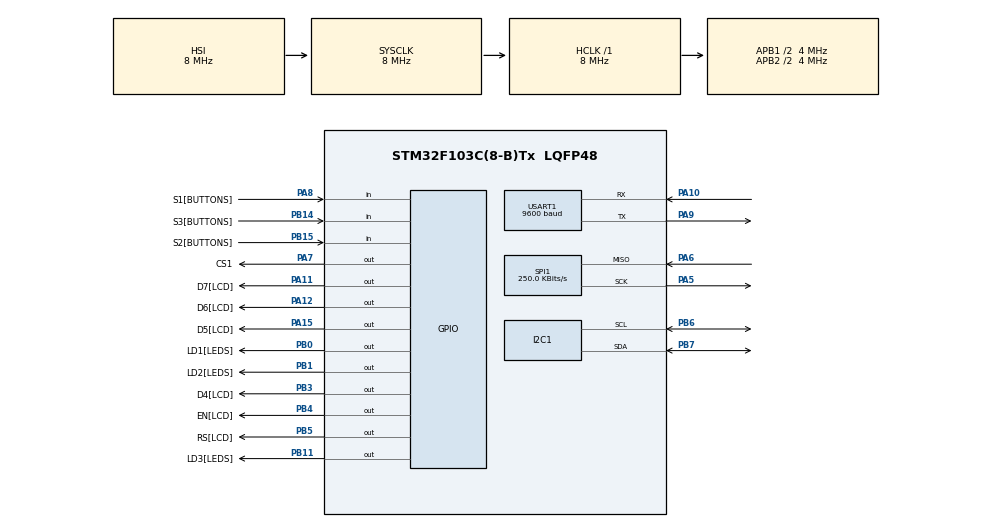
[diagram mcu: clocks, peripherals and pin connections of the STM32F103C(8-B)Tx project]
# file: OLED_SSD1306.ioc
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I2C1.I2C_Mode=I2C_Fast
Mcu.Family=STM32F1
Mcu.Name=STM32F103C(8-B)Tx
Mcu.Package=LQFP48
NVIC.PriorityGroup=NVIC_PRIORITYGROUP_4
PA10.Mode=Asynchronous
PA10.Signal=USART1_RX
PA11.GPIO_Label=D7[LCD]
PA11.Signal=GPIO_Output
PA12.GPIO_Label=D6[LCD]
PA12.Signal=GPIO_Output
PA13.Mode=Serial_Wire
PA13.Signal=SYS_JTMS-SWDIO
PA14.Mode=Serial_Wire
PA14.Signal=SYS_JTCK-SWCLK
PA15.GPIO_Label=D5[LCD]
PA15.Signal=GPIO_Output
PA5.Mode=RX_Only_Simplex_Unidirect_Master
PA5.Signal=SPI1_SCK
PA6.Mode=RX_Only_Simplex_Unidirect_Master
PA6.Signal=SPI1_MISO
PA7.GPIO_Label=CS1
PA7.Signal=GPIO_Output
PA8.GPIO_Label=S1[BUTTONS]
PA8.Signal=GPIO_Input
PA9.Mode=Asynchronous
PA9.Signal=USART1_TX
PB0.GPIO_Label=LD1[LEDS]
PB0.Signal=GPIO_Output
PB1.GPIO_Label=LD2[LEDS]
PB1.Signal=GPIO_Output
PB11.GPIO_Label=LD3[LEDS]
PB11.Signal=GPIO_Output
PB14.GPIO_Label=S3[BUTTONS]
PB14.Signal=GPIO_Input
PB15.GPIO_Label=S2[BUTTONS]
PB15.Signal=GPIO_Input
PB3.GPIO_Label=D4[LCD]
PB3.Signal=GPIO_Output
PB4.GPIO_Label=EN[LCD]
PB4.Signal=GPIO_Output
PB5.GPIO_Label=RS[LCD]
PB5.Signal=GPIO_Output
PB6.Mode=I2C
PB6.Signal=I2C1_SCL
PB7.Mode=I2C
PB7.Signal=I2C1_SDA
ProjectManager.HeapSize=0x200
ProjectManager.StackSize=0x400
ProjectManager.TargetToolchain=TrueSTUDIO
RCC.AHBFreq_Value=8000000
RCC.APB1CLKDivider=RCC_HCLK_DIV2
RCC.APB1Freq_Value=4000000
RCC.APB1TimFreq_Value=8000000
RCC.APB2CLKDivider=RCC_HCLK_DIV2
RCC.APB2Freq_Value=4000000
RCC.APB2TimFreq_Value=8000000
RCC.HCLKFreq_Value=8000000
RCC.PLLMUL=RCC_PLL_MUL9
RCC.SYSCLKFreq_VALUE=8000000
RCC.USBFreq_Value=36000000
SPI1.BaudRatePrescaler=SPI_BAUDRATEPRESCALER_16
SPI1.CLKPhase=SPI_PHASE_1EDGE
SPI1.CLKPolarity=SPI_POLARITY_LOW
SPI1.CalculateBaudRate=250.0 KBits/s
SPI1.DataSize=SPI_DATASIZE_8BIT
SPI1.Direction=SPI_DIRECTION_2LINES_RXONLY
SPI1.FirstBit=SPI_FIRSTBIT_MSB
SPI1.Mode=SPI_MODE_MASTER
SPI1.VirtualType=VM_MASTER
USART1.BaudRate=9600
USART1.VirtualMode=VM_ASYNC
board=OLED_SSD1306

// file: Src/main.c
/**
  ******************************************************************************
  * @file           : main.c
  * @brief          : Main program body
  ******************************************************************************
  ** This notice applies to any and all portions of this file
  * that are not between comment pairs USER CODE BEGIN and
  * USER CODE END. Other portions of this file, whether
  * inserted by the user or by software development tools
  * are owned by their respective copyright owners.
  *
  * COPYRIGHT(c) 2018 STMicroelectronics
  *
  * Redistribution and use in source and binary forms, with or without modification,
  * are permitted provided that the following conditions are met:
  *   1. Redistributions of source code must retain the above copyright notice,
  *      this list of conditions and the following disclaimer.
  *   2. Redistributions in binary form must reproduce the above copyright notice,
  *      this list of conditions and the following disclaimer in the documentation
  *      and/or other materials provided with the distribution.
  *   3. Neither the name of STMicroelectronics nor the names of its contributors
  *      may be used to endorse or promote products derived from this software
  *      without specific prior written permission.
  *
  * THIS SOFTWARE IS PROVIDED BY THE COPYRIGHT HOLDERS AND CONTRIBUTORS "AS IS"
  * AND ANY EXPRESS OR IMPLIED WARRANTIES, INCLUDING, BUT NOT LIMITED TO, THE
  * IMPLIED WARRANTIES OF MERCHANTABILITY AND FITNESS FOR A PARTICULAR PURPOSE ARE
  * DISCLAIMED. IN NO EVENT SHALL THE COPYRIGHT HOLDER OR CONTRIBUTORS BE LIABLE
  * FOR ANY DIRECT, INDIRECT, INCIDENTAL, SPECIAL, EXEMPLARY, OR CONSEQUENTIAL
  * DAMAGES (INCLUDING, BUT NOT LIMITED TO, PROCUREMENT OF SUBSTITUTE GOODS OR
  * SERVICES; LOSS OF USE, DATA, OR PROFITS; OR BUSINESS INTERRUPTION) HOWEVER
  * CAUSED AND ON ANY THEORY OF LIABILITY, WHETHER IN CONTRACT, STRICT LIABILITY,
  * OR TORT (INCLUDING NEGLIGENCE OR OTHERWISE) ARISING IN ANY WAY OUT OF THE USE
  * OF THIS SOFTWARE, EVEN IF ADVISED OF THE POSSIBILITY OF SUCH DAMAGE.
  *
  ******************************************************************************
  */
#include "main.h"
#include "stm32f1xx_hal.h"

/* USER CODE BEGIN Includes */

#include <stdio.h>
#include <stdlib.h>
#include "ssd1306.h"
#include "i2c-lcd.h"
#include "u8g_arm.h"

/* USER CODE END Includes */

I2C_HandleTypeDef hi2c1;

SPI_HandleTypeDef hspi1;

UART_HandleTypeDef huart1;

/* USER CODE BEGIN PV */
/* Private variables ---------------------------------------------------------*/
static u8g_t u8g;
uint8_t check;
float temperature =25.00;
char buffer [5],buff[10];

const unsigned char star [] = {
0xFF, 0xFF, 0xFF, 0xFF, 0xFF, 0xFF, 0xFF, 0xFF, 0xFF, 0xFF, 0xFF, 0xFF, 0xFF, 0xFF, 0xFF, 0xFF,
0xFF, 0xFF, 0xFF, 0xFF, 0xFF, 0xFF, 0xFF, 0xFF, 0xFF, 0xFF, 0xFF, 0xFF, 0xFF, 0xFF, 0xFF, 0xFF,
0xFF, 0xFF, 0xFF, 0xFF, 0xFF, 0xFF, 0xFF, 0xFF, 0xFF, 0xFF, 0xFF, 0xFF, 0xFF, 0xFF, 0xFF, 0xFF,
0xFF, 0xFF, 0xFF, 0xFF, 0xFF, 0xFF, 0xFF, 0xFF, 0xFF, 0xFF, 0xFF, 0xFF, 0xFF, 0xFF, 0xFF, 0xFF,
0xFF, 0xFF, 0xFF, 0xFF, 0xFF, 0xFF, 0xFF, 0xFF, 0xFF, 0xFF, 0xFF, 0xFF, 0xFF, 0xFF, 0xFF, 0xFF,
0xFF, 0xFF, 0xFF, 0xFF, 0xFF, 0xFF, 0xFF, 0xFF, 0xFF, 0xFF, 0xFF, 0xFF, 0xFF, 0xFF, 0xFF, 0xFF,
0xFF, 0xFF, 0xFF, 0xFF, 0xFF, 0xFF, 0xFF, 0xFF, 0xFF, 0xFF, 0xFF, 0xFF, 0xFF, 0xFF, 0xFF, 0xFF,
0xFF, 0xFF, 0xFF, 0xFF, 0xFF, 0xFF, 0xFF, 0xFF, 0xFF, 0xFF, 0xFF, 0xFF, 0xFF, 0xFF, 0xFF, 0xFF,
0xFF, 0xFF, 0xFF, 0xFF, 0xFF, 0xFF, 0xFF, 0xFF, 0xFF, 0xFF, 0xFF, 0xFF, 0xFF, 0xFF, 0xFF, 0xFF,
0xFF, 0xFF, 0xFF, 0xFF, 0xFF, 0xFF, 0xFF, 0xFF, 0xFF, 0xFF, 0xFF, 0xFF, 0xFF, 0xFF, 0xFF, 0xFF,
0xFF, 0xFF, 0xFF, 0xFF, 0xFF, 0xFF, 0xFF, 0xFF, 0xFF, 0xFF, 0xFF, 0xFF, 0xFF, 0xFF, 0xFF, 0xFF,
0xFF, 0xFF, 0xFF, 0xC0, 0x00, 0x00, 0x00, 0x07, 0xFF, 0xFF, 0xFF, 0xFF, 0xFF, 0xFF, 0xFF, 0xFF,
0xFF, 0xFF, 0xFE, 0x3F, 0xFF, 0xFF, 0xFF, 0xF3, 0xC0, 0x09, 0xFF, 0x90, 0x00, 0x03, 0xFF, 0xFF,
0xFF, 0xFF, 0xFD, 0xFF, 0xFF, 0xFF, 0xFF, 0xF3, 0x9F, 0xFD, 0xFF, 0xBF, 0xFF, 0xF9, 0xFF, 0xFF,
0xFF, 0xFF, 0xFB, 0xFF, 0xFF, 0xFF, 0xFF, 0xF3, 0xBF, 0xFC, 0xFF, 0xBF, 0xFF, 0xFE, 0xFF, 0xFF,
0xFF, 0xFF, 0xF3, 0xFF, 0xFF, 0xFF, 0xFF, 0xF3, 0xBF, 0xFE, 0xFF, 0xBF, 0xFF, 0xFF, 0x7F, 0xFF,
0xFF, 0xFF, 0xF7, 0xFF, 0xFF, 0xFF, 0xFF, 0xF3, 0x7F, 0x7E, 0xFF, 0xBF, 0x80, 0xFF, 0x7F, 0xFF,
0xFF, 0xFF, 0xF7, 0xFC, 0x00, 0x1F, 0xC0, 0x03, 0x7F, 0x7F, 0x7F, 0xBF, 0x9F, 0x3F, 0x7F, 0xFF,
0xFF, 0xFF, 0xF7, 0xFD, 0xFF, 0xDF, 0xDF, 0xFE, 0x7E, 0x3F, 0x7F, 0xBF, 0xBF, 0xBF, 0x7F, 0xFF,
0xFF, 0xFF, 0xFB, 0xFC, 0xFF, 0xDF, 0xDF, 0xFE, 0xFE, 0xBF, 0x3F, 0xBF, 0x90, 0x3F, 0x7F, 0xFF,
0xFF, 0xFF, 0xF9, 0xFE, 0x7F, 0xDF, 0xDF, 0xFE, 0xFC, 0x9F, 0xBF, 0xBF, 0xFF, 0xFF, 0x7F, 0xFF,
0xFF, 0xFF, 0xFC, 0xFF, 0x3F, 0xDF, 0xDF, 0xFD, 0xFD, 0xDF, 0xBF, 0xBF, 0xFF, 0xFE, 0xFF, 0xFF,
0xFF, 0xFF, 0xFE, 0x7F, 0x9F, 0xDF, 0xDF, 0xFD, 0xF9, 0xDF, 0xDF, 0xBF, 0xFF, 0xF9, 0xFF, 0xFF,
0xFF, 0xFF, 0xFF, 0xBF, 0xDF, 0xDF, 0xDF, 0xF9, 0xF8, 0x0F, 0xDF, 0xBF, 0xFF, 0xF3, 0xFF, 0xFF,
0xFC, 0x00, 0x00, 0x3F, 0xEF, 0xDF, 0xDF, 0xFB, 0xFF, 0xFF, 0xCF, 0xBF, 0xBF, 0xF8, 0x00, 0x3F,
0xFD, 0xFF, 0xFF, 0xFF, 0xEF, 0xDF, 0xDF, 0xF3, 0xFF, 0xFF, 0xEF, 0xBF, 0x8F, 0xFF, 0xFF, 0xBF,
0xFD, 0xFF, 0xFF, 0xFF, 0xEF, 0xDF, 0xDF, 0xF7, 0xFF, 0xFF, 0xE7, 0xBF, 0x87, 0xFF, 0xFF, 0xBF,
0xFD, 0xFF, 0xFF, 0xFF, 0xDF, 0xDF, 0xDF, 0xF7, 0xFF, 0xFF, 0xF7, 0xBF, 0x93, 0xFF, 0xFF, 0xBF,
0xFD, 0xFF, 0xFF, 0xFF, 0xDF, 0xDF, 0xDF, 0xEF, 0xE0, 0x03, 0xF7, 0xBF, 0x9C, 0xFF, 0xFF, 0xBF,
0xFD, 0xFF, 0xFF, 0xFF, 0x3F, 0xDF, 0xDF, 0xEF, 0xCF, 0xFB, 0xFB, 0xBF, 0xDE, 0x7F, 0xFF, 0xBF,
0xFC, 0x00, 0x00, 0x00, 0x7F, 0xC0, 0x1F, 0xC0, 0x1F, 0xF9, 0xFB, 0x80, 0x1F, 0x80, 0x00, 0x3F,
0xFF, 0xFF, 0xFF, 0xFF, 0xFF, 0xFF, 0xFF, 0xFF, 0xFF, 0xFF, 0xFF, 0xFF, 0xFF, 0xFF, 0xFF, 0xFF,
0xFF, 0xFF, 0xFF, 0xFF, 0xFF, 0xFF, 0xFF, 0xFF, 0xFF, 0xFF, 0xFF, 0xFF, 0xFF, 0xFF, 0xFF, 0xFF,
0xFC, 0x01, 0xE0, 0x07, 0x80, 0x3C, 0x83, 0x9F, 0xFC, 0x00, 0x00, 0x7F, 0xFE, 0x00, 0x00, 0x3F,
0xFE, 0xFC, 0xEF, 0xF7, 0x3F, 0x7D, 0xFF, 0xDF, 0xFD, 0xFF, 0xFF, 0x9F, 0xFD, 0xFF, 0xFF, 0xBF,
0xFE, 0xFE, 0xEF, 0xF3, 0x7F, 0x79, 0xFF, 0xEF, 0xFD, 0xFF, 0xFF, 0xEF, 0xFB, 0xFF, 0xFF, 0xBF,
0xFF, 0x7E, 0x5F, 0xFB, 0x7E, 0xFB, 0xFF, 0xEF, 0xFD, 0xFF, 0xFF, 0xF7, 0xF7, 0xFF, 0xFF, 0xBF,
0xFF, 0x7F, 0x5F, 0xFA, 0xFE, 0xFB, 0xF7, 0xE7, 0xFD, 0xFF, 0xFF, 0xF3, 0xF7, 0xFF, 0xFF, 0xBF,
0xFF, 0xBF, 0x3F, 0xFC, 0xFC, 0xF7, 0xF3, 0xF7, 0xFD, 0xFC, 0x03, 0xFB, 0xF7, 0xFC, 0x00, 0x3F,
0xFF, 0xBF, 0xBF, 0xFD, 0xFD, 0xF7, 0xF3, 0xF3, 0xFD, 0xFD, 0xF9, 0xFB, 0xF7, 0xF9, 0xFF, 0xFF,
0xFF, 0x9F, 0xBF, 0xFD, 0xF9, 0xE7, 0xEB, 0xFB, 0xFD, 0xFD, 0xFB, 0xFB, 0xF3, 0xFD, 0xFF, 0xFF,
0xFF, 0xDF, 0xFF, 0xFF, 0xFB, 0xEF, 0xED, 0xFB, 0xFD, 0xFC, 0x07, 0xF3, 0xF9, 0xFE, 0xFF, 0xFF,
0xFF, 0xDF, 0xFE, 0x7F, 0xFB, 0xEF, 0xDD, 0xFD, 0xFD, 0xFF, 0xFF, 0xE7, 0xFC, 0xFF, 0x7F, 0xFF,
0xFF, 0xEF, 0xFE, 0x7F, 0xF7, 0xDF, 0xDC, 0xFD, 0xFD, 0xFF, 0xFF, 0xCF, 0xFE, 0x7F, 0xBF, 0xFF,
0xFF, 0xEF, 0xFE, 0x7F, 0xF7, 0xDF, 0x80, 0xFC, 0xFD, 0xFF, 0xFF, 0x3F, 0xFF, 0x3F, 0xDF, 0xFF,
0xFF, 0xE7, 0xFD, 0xBF, 0xE7, 0x9F, 0xFF, 0xFE, 0xFD, 0xFD, 0xFF, 0x80, 0x00, 0x3F, 0xEF, 0xFF,
0xFF, 0xF7, 0xFD, 0xBF, 0xEF, 0xBF, 0xFF, 0xFE, 0xFD, 0xFC, 0xFF, 0xFF, 0xFF, 0xFF, 0xEF, 0xFF,
0xFF, 0xF7, 0xFB, 0x9F, 0xEF, 0x3F, 0xFF, 0xFF, 0x7D, 0xFC, 0x7F, 0xFF, 0xFF, 0xFF, 0xEF, 0xFF,
0xFF, 0xFB, 0xFB, 0xDF, 0xDF, 0x7F, 0xFF, 0xFF, 0x7D, 0xFD, 0x9F, 0xFF, 0xFF, 0xFF, 0xCF, 0xFF,
0xFF, 0xFB, 0xF3, 0xCF, 0xDF, 0x7E, 0x00, 0x3F, 0xBD, 0xFD, 0xCF, 0xFF, 0xFF, 0xFF, 0xDF, 0xFF,
0xFF, 0xF9, 0xF7, 0xEF, 0x9E, 0xFE, 0xFF, 0x9F, 0xBD, 0xFD, 0xE7, 0xFF, 0xFF, 0xFF, 0xBF, 0xFF,
0xFF, 0xFD, 0xE7, 0xE7, 0xBE, 0x00, 0xFF, 0xDF, 0x9D, 0xFD, 0xF9, 0xFF, 0xFF, 0xFC, 0x7F, 0xFF,
0xFF, 0xFF, 0xFF, 0xF0, 0x3F, 0xFF, 0xFF, 0xFF, 0xFC, 0x01, 0xFF, 0x00, 0x00, 0x07, 0xFF, 0xFF,
0xFF, 0xFF, 0xFF, 0xFF, 0xFF, 0xFF, 0xFF, 0xFF, 0xFF, 0xFF, 0xFF, 0xFF, 0xFF, 0xFF, 0xFF, 0xFF,
0xFF, 0xFF, 0xFF, 0xFF, 0xFF, 0xFF, 0xFF, 0xFF, 0xFF, 0xFF, 0xFF, 0xFF, 0xFF, 0xFF, 0xFF, 0xFF,
0xFF, 0xFF, 0xFF, 0xFF, 0xFF, 0xFF, 0xFF, 0xFF, 0xFF, 0xFF, 0xFF, 0xFF, 0xFF, 0xFF, 0xFF, 0xFF,
0xFF, 0xFF, 0xFF, 0xFF, 0xFF, 0xFF, 0xFF, 0xFF, 0xFF, 0xFF, 0xFF, 0xFF, 0xFF, 0xFF, 0xFF, 0xFF,
0xFF, 0xFF, 0xFF, 0xFF, 0xFF, 0xFF, 0xFF, 0xFF, 0xFF, 0xFF, 0xFF, 0xFF, 0xFF, 0xFF, 0xFF, 0xFF,
0xFF, 0xFF, 0xFF, 0xFF, 0xFF, 0xFF, 0xFF, 0xFF, 0xFF, 0xFF, 0xFF, 0xFF, 0xFF, 0xFF, 0xFF, 0xFF,
0xFF, 0xFF, 0xFF, 0xFF, 0xFF, 0xFF, 0xFF, 0xFF, 0xFF, 0xFF, 0xFF, 0xFF, 0xFF, 0xFF, 0xFF, 0xFF,
0xFF, 0xFF, 0xFF, 0xFF, 0xFF, 0xFF, 0xFF, 0xFF, 0xFF, 0xFF, 0xFF, 0xFF, 0xFF, 0xFF, 0xFF, 0xFF,
0xFF, 0xFF, 0xFF, 0xFF, 0xFF, 0xFF, 0xFF, 0xFF, 0xFF, 0xFF, 0xFF, 0xFF, 0xFF, 0xFF, 0xFF, 0xFF,
0xFF, 0xFF, 0xFF, 0xFF, 0xFF, 0xFF, 0xFF, 0xFF, 0xFF, 0xFF, 0xFF, 0xFF, 0xFF, 0xFF, 0xFF, 0xFF,
0xFF, 0xFF, 0xFF, 0xFF, 0xFF, 0xFF, 0xFF, 0xFF, 0xFF, 0xFF, 0xFF, 0xFF, 0xFF, 0xFF, 0xFF, 0xFF
};

const unsigned char iron [] = {
0x00, 0x00, 0x00, 0x00, 0x00, 0x00, 0x00, 0x00, 0x00, 0x00, 0x00, 0x00, 0x00, 0x00, 0x00, 0x00,
0x00, 0x00, 0x00, 0x00, 0x00, 0x00, 0x00, 0x03, 0xC0, 0x00, 0x00, 0x00, 0x00, 0x00, 0x00, 0x00,
0x00, 0x00, 0x00, 0x00, 0x00, 0x00, 0x01, 0xFF, 0xFF, 0x80, 0x00, 0x00, 0x00, 0x00, 0x00, 0x00,
0x00, 0x00, 0x00, 0x00, 0x00, 0x00, 0x1F, 0xFF, 0xFF, 0xF8, 0x00, 0x00, 0x00, 0x00, 0x00, 0x00,
0x00, 0x00, 0x00, 0x00, 0x00, 0x00, 0xFF, 0xFF, 0xFF, 0xFF, 0x00, 0x00, 0x00, 0x00, 0x00, 0x00,
0x00, 0x00, 0x00, 0x00, 0x00, 0x03, 0xFF, 0xFC, 0x3F, 0xFF, 0xC0, 0x00, 0x00, 0x00, 0x00, 0x00,
0x00, 0x00, 0x00, 0x00, 0x00, 0x0F, 0xFF, 0x00, 0x00, 0xFF, 0xF0, 0x00, 0x00, 0x00, 0x00, 0x00,
0x00, 0x00, 0x00, 0x00, 0x00, 0x1F, 0xFF, 0x00, 0x00, 0xFF, 0xF8, 0x00, 0x00, 0x00, 0x00, 0x00,
0x00, 0x00, 0x00, 0x00, 0x00, 0x7F, 0xFF, 0x80, 0x00, 0xFF, 0xFE, 0x00, 0x00, 0x00, 0x00, 0x00,
0x00, 0x00, 0x00, 0x00, 0x00, 0xFE, 0x7F, 0x80, 0x01, 0xFF, 0x7F, 0x00, 0x00, 0x00, 0x00, 0x00,
0x00, 0x00, 0x00, 0x00, 0x03, 0xF8, 0x7F, 0xC0, 0x01, 0xFF, 0x1F, 0xC0, 0x00, 0x00, 0x00, 0x00,
0x00, 0x00, 0x00, 0x00, 0x07, 0xF0, 0x3F, 0xC0, 0x01, 0xFE, 0x0F, 0xE0, 0x00, 0x00, 0x00, 0x00,
0x00, 0x00, 0x00, 0x00, 0x0F, 0xC0, 0x3F, 0xE0, 0x03, 0xFE, 0x03, 0xF0, 0x00, 0x00, 0x00, 0x00,
0x00, 0x00, 0x00, 0x00, 0x1F, 0x80, 0x3F, 0xE0, 0x03, 0xFC, 0x01, 0xF8, 0x00, 0x00, 0x00, 0x00,
0x00, 0x00, 0x00, 0x00, 0x3F, 0x00, 0x1F, 0xF0, 0x07, 0xFC, 0x00, 0xFC, 0x00, 0x00, 0x00, 0x00,
0x00, 0x00, 0x00, 0x00, 0x3E, 0x00, 0x1F, 0xF0, 0x07, 0xF8, 0x00, 0x7C, 0x00, 0x00, 0x00, 0x00,
0x00, 0x00, 0x00, 0x00, 0x7F, 0xFF, 0xFF, 0xFF, 0xFF, 0xFF, 0xFF, 0xFE, 0x00, 0x00, 0x00, 0x00,
0x00, 0x00, 0x00, 0x00, 0xFF, 0xFF, 0xFF, 0xFF, 0xFF, 0xFF, 0xFF, 0xFF, 0x00, 0x00, 0x00, 0x00,
0x00, 0x00, 0x00, 0x00, 0xFF, 0xFF, 0xFF, 0xFF, 0xFF, 0xFF, 0xFF, 0xFF, 0x00, 0x00, 0x00, 0x00,
0x00, 0x00, 0x00, 0x01, 0xF7, 0xE0, 0x00, 0x00, 0x00, 0x00, 0x03, 0xEF, 0x80, 0x00, 0x00, 0x00,
0x00, 0x00, 0x00, 0x01, 0xE3, 0xFC, 0x00, 0x00, 0x00, 0x00, 0x3F, 0xE7, 0x80, 0x00, 0x00, 0x00,
0x00, 0x00, 0x00, 0x03, 0xE1, 0xEE, 0x00, 0x00, 0x00, 0x00, 0x7B, 0xC7, 0xC0, 0x00, 0x00, 0x00,
0x00, 0x00, 0x00, 0x03, 0xC1, 0xE7, 0x80, 0x00, 0x00, 0x01, 0xE7, 0x83, 0xC0, 0x00, 0x00, 0x00,
0x00, 0x00, 0x00, 0x07, 0xC0, 0xF0, 0x7F, 0xFF, 0xFF, 0xFF, 0x07, 0x83, 0xE0, 0x00, 0x00, 0x00,
0x00, 0x00, 0x00, 0x07, 0xC0, 0x78, 0x3F, 0xFF, 0xFF, 0xFC, 0x0F, 0x03, 0xE0, 0x00, 0x00, 0x00,
0x00, 0x00, 0x00, 0x07, 0x80, 0x78, 0x1F, 0xFF, 0xFF, 0xFC, 0x1E, 0x01, 0xE0, 0x00, 0x00, 0x00,
0x00, 0x00, 0x00, 0x0F, 0x80, 0x3C, 0x0F, 0xFF, 0xFF, 0xF8, 0x1E, 0x01, 0xF0, 0x00, 0x00, 0x00,
0x00, 0x00, 0x00, 0x0F, 0x80, 0x1E, 0x0F, 0x9F, 0xFC, 0xF0, 0x3C, 0x01, 0xF0, 0x00, 0x00, 0x00,
0x00, 0x00, 0x00, 0x0F, 0x80, 0x1E, 0x07, 0xE0, 0x03, 0xF0, 0x78, 0x01, 0xF0, 0x00, 0x00, 0x00,
0x00, 0x00, 0x00, 0x0F, 0x80, 0x7F, 0x03, 0xF0, 0x07, 0xE0, 0x7F, 0x81, 0xF0, 0x00, 0x00, 0x00,
0x00, 0x00, 0x00, 0x0F, 0x8F, 0xFF, 0x83, 0xF8, 0x0F, 0xC0, 0xFF, 0xFD, 0xF0, 0x00, 0x00, 0x00,
0x00, 0x00, 0x00, 0x0F, 0xFF, 0xFF, 0x81, 0xF8, 0x0F, 0xC1, 0xFF, 0xFF, 0xF0, 0x00, 0x00, 0x00,
0x00, 0x00, 0x00, 0x0F, 0xFF, 0xFF, 0xC0, 0xFC, 0x1F, 0x81, 0xFF, 0xFF, 0xF0, 0x00, 0x00, 0x00,
0x00, 0x00, 0x00, 0x0F, 0xFF, 0xFF, 0xE0, 0xFE, 0x3F, 0x03, 0xFF, 0xFF, 0xF0, 0x00, 0x00, 0x00,
0x00, 0x00, 0x00, 0x0F, 0xFF, 0xFF, 0xE0, 0x7E, 0x3F, 0x07, 0xFF, 0xFF, 0xF0, 0x00, 0x00, 0x00,
0x00, 0x00, 0x00, 0x0F, 0xFF, 0xFE, 0xF0, 0x3F, 0x7E, 0x07, 0xBF, 0xFF, 0xF0, 0x00, 0x00, 0x00,
0x00, 0x00, 0x00, 0x0F, 0xFF, 0xC0, 0x78, 0x3F, 0x7C, 0x0F, 0x00, 0xFF, 0xF0, 0x00, 0x00, 0x00,
0x00, 0x00, 0x00, 0x07, 0xF0, 0x00, 0x78, 0x1F, 0x7C, 0x1F, 0x00, 0x07, 0xE0, 0x00, 0x00, 0x00,
0x00, 0x00, 0x00, 0x07, 0xC0, 0x00, 0x3C, 0x0F, 0xF8, 0x1E, 0x00, 0x03, 0xE0, 0x00, 0x00, 0x00,
0x00, 0x00, 0x00, 0x07, 0xC0, 0x00, 0x1E, 0x0F, 0xF0, 0x3C, 0x00, 0x03, 0xE0, 0x00, 0x00, 0x00,
0x00, 0x00, 0x00, 0x03, 0xC0, 0x00, 0x1E, 0x07, 0xF0, 0x78, 0x00, 0x03, 0xC0, 0x00, 0x00, 0x00,
0x00, 0x00, 0x00, 0x03, 0xE0, 0x00, 0x0F, 0x03, 0xE0, 0x7C, 0x00, 0x07, 0xC0, 0x00, 0x00, 0x00,
0x00, 0x00, 0x00, 0x01, 0xE0, 0x00, 0x1F, 0x83, 0xC0, 0xFE, 0x00, 0x07, 0x80, 0x00, 0x00, 0x00,
0x00, 0x00, 0x00, 0x01, 0xF0, 0x00, 0x3F, 0x81, 0xC1, 0xFF, 0x00, 0x0F, 0x80, 0x00, 0x00, 0x00,
0x00, 0x00, 0x00, 0x00, 0xF8, 0x00, 0x7F, 0xC0, 0x81, 0xFF, 0x80, 0x1F, 0x00, 0x00, 0x00, 0x00,
0x00, 0x00, 0x00, 0x00, 0xF8, 0x01, 0xFF, 0xE0, 0x83, 0xFF, 0xC0, 0x1F, 0x00, 0x00, 0x00, 0x00,
0x00, 0x00, 0x00, 0x00, 0x7C, 0x03, 0xFF, 0xE0, 0x87, 0xFF, 0xE0, 0x3E, 0x00, 0x00, 0x00, 0x00,
0x00, 0x00, 0x00, 0x00, 0x3E, 0x07, 0xFF, 0xF0, 0x87, 0xFF, 0xF0, 0x7C, 0x00, 0x00, 0x00, 0x00,
0x00, 0x00, 0x00, 0x00, 0x3F, 0x0F, 0xFE, 0x78, 0x8F, 0x3F, 0xF8, 0xFC, 0x00, 0x00, 0x00, 0x00,
0x00, 0x00, 0x00, 0x00, 0x1F, 0x9F, 0xFC, 0x79, 0xDF, 0x1F, 0xFD, 0xF8, 0x00, 0x00, 0x00, 0x00,
0x00, 0x00, 0x00, 0x00, 0x0F, 0xFF, 0xF8, 0x3D, 0xDE, 0x0F, 0xFF, 0xF0, 0x00, 0x00, 0x00, 0x00,
0x00, 0x00, 0x00, 0x00, 0x07, 0xFF, 0xF0, 0x1E, 0xBC, 0x03, 0xFF, 0xE0, 0x00, 0x00, 0x00, 0x00,
0x00, 0x00, 0x00, 0x00, 0x01, 0xFF, 0xE0, 0x1F, 0xBC, 0x01, 0xFF, 0x80, 0x00, 0x00, 0x00, 0x00,
0x00, 0x00, 0x00, 0x00, 0x00, 0xFF, 0xC0, 0x0F, 0xF8, 0x00, 0xFF, 0x00, 0x00, 0x00, 0x00, 0x00,
0x00, 0x00, 0x00, 0x00, 0x00, 0x7F, 0x80, 0x07, 0xF0, 0x01, 0xFE, 0x00, 0x00, 0x00, 0x00, 0x00,
0x00, 0x00, 0x00, 0x00, 0x00, 0x1F, 0xF0, 0x07, 0xF0, 0x0F, 0xF8, 0x00, 0x00, 0x00, 0x00, 0x00,
0x00, 0x00, 0x00, 0x00, 0x00, 0x0F, 0xFE, 0x03, 0xE0, 0x7F, 0xF0, 0x00, 0x00, 0x00, 0x00, 0x00,
0x00, 0x00, 0x00, 0x00, 0x00, 0x03, 0xFF, 0xFF, 0xFF, 0xFF, 0xC0, 0x00, 0x00, 0x00, 0x00, 0x00,
0x00, 0x00, 0x00, 0x00, 0x00, 0x00, 0x7F, 0xFF, 0xFF, 0xFE, 0x00, 0x00, 0x00, 0x00, 0x00, 0x00,
0x00, 0x00, 0x00, 0x00, 0x00, 0x00, 0x1F, 0xFF, 0xFF, 0xF8, 0x00, 0x00, 0x00, 0x00, 0x00, 0x00,
0x00, 0x00, 0x00, 0x00, 0x00, 0x00, 0x01, 0xFF, 0xFF, 0x80, 0x00, 0x00, 0x00, 0x00, 0x00, 0x00,
0x00, 0x00, 0x00, 0x00, 0x00, 0x00, 0x00, 0x00, 0x00, 0x00, 0x00, 0x00, 0x00, 0x00, 0x00, 0x00,
0x00, 0x00, 0x00, 0x00, 0x00, 0x00, 0x00, 0x00, 0x00, 0x00, 0x00, 0x00, 0x00, 0x00, 0x00, 0x00,
0x00, 0x00, 0x00, 0x00, 0x00, 0x00, 0x00, 0x00, 0x00, 0x00, 0x00, 0x00, 0x00, 0x00, 0x00, 0x00
};

/* USER CODE END PV */

void SystemClock_Config(void);
static void MX_GPIO_Init(void);
static void MX_I2C1_Init(void);
static void MX_SPI1_Init(void);
static void MX_USART1_UART_Init(void);

/* USER CODE BEGIN PFP */
/* Private function prototypes -----------------------------------------------*/

/*
 Function which responds for drawing
 */
 void draw(void)
 {
      u8g_SetFont(&u8g,u8g_font_profont10);//set current font
      u8g_DrawBitmapP(&u8g,0,0,16,64, star);
 }

/* USER CODE END PFP */

int main(void)
{

  /* MCU Configuration----------------------------------------------------------*/

  /* Reset of all peripherals, Initializes the Flash interface and the Systick. */
  HAL_Init();

  /* Configure the system clock */
  SystemClock_Config();

  /* Initialize all configured peripherals */
  MX_GPIO_Init();
  MX_I2C1_Init();
  MX_SPI1_Init();
  MX_USART1_UART_Init();
  /* USER CODE BEGIN 2 */
  u8g_InitComFn(&u8g, &u8g_dev_ssd1306_128x64_i2c, u8g_com_hw_i2c_fn); //here we init our u8glib driver
  HAL_Delay(100);
  u8g_FirstPage(&u8g);
  do
  {
	draw();
	 } while ( u8g_NextPage(&u8g) );
 u8g_Delay(10);

  /* USER CODE END 2 */

  /* Infinite loop */
  while (1)
  {

  /* USER CODE BEGIN 3 */
/*
	    lcd_init ();
	  	check = SSD1306_Init ();
	  	SSD1306_Fill (0);
	  	SSD1306_UpdateScreen(); //display
	  	SSD1306_DrawRectangle(10,12,20,30,1);
	  	SSD1306_UpdateScreen(); //display
	  	while((HAL_I2C_IsDeviceReady (&hi2c1, 0x4E, 10, 100)));
*/

	  //this loop correspond of drawing

  }
  /* USER CODE END 3 */

}

void SystemClock_Config(void)
{

  RCC_OscInitTypeDef RCC_OscInitStruct;
  RCC_ClkInitTypeDef RCC_ClkInitStruct;

    /**Initializes the CPU, AHB and APB busses clocks
    */
  RCC_OscInitStruct.OscillatorType = RCC_OSCILLATORTYPE_HSI;
  RCC_OscInitStruct.HSIState = RCC_HSI_ON;
  RCC_OscInitStruct.HSICalibrationValue = 16;
  RCC_OscInitStruct.PLL.PLLState = RCC_PLL_NONE;
  if (HAL_RCC_OscConfig(&RCC_OscInitStruct) != HAL_OK)
  {
    _Error_Handler(__FILE__, __LINE__);
  }

    /**Initializes the CPU, AHB and APB busses clocks
    */
  RCC_ClkInitStruct.ClockType = RCC_CLOCKTYPE_HCLK|RCC_CLOCKTYPE_SYSCLK
                              |RCC_CLOCKTYPE_PCLK1|RCC_CLOCKTYPE_PCLK2;
  RCC_ClkInitStruct.SYSCLKSource = RCC_SYSCLKSOURCE_HSI;
  RCC_ClkInitStruct.AHBCLKDivider = RCC_SYSCLK_DIV1;
  RCC_ClkInitStruct.APB1CLKDivider = RCC_HCLK_DIV2;
  RCC_ClkInitStruct.APB2CLKDivider = RCC_HCLK_DIV2;

  if (HAL_RCC_ClockConfig(&RCC_ClkInitStruct, FLASH_LATENCY_0) != HAL_OK)
  {
    _Error_Handler(__FILE__, __LINE__);
  }

    /**Configure the Systick interrupt time
    */
  HAL_SYSTICK_Config(HAL_RCC_GetHCLKFreq()/1000);

    /**Configure the Systick
    */
  HAL_SYSTICK_CLKSourceConfig(SYSTICK_CLKSOURCE_HCLK);

  /* SysTick_IRQn interrupt configuration */
  HAL_NVIC_SetPriority(SysTick_IRQn, 0, 0);
}

/* I2C1 init function */
static void MX_I2C1_Init(void)
{

  hi2c1.Instance = I2C1;
  hi2c1.Init.ClockSpeed = 400000;
  hi2c1.Init.DutyCycle = I2C_DUTYCYCLE_2;
  hi2c1.Init.OwnAddress1 = 0;
  hi2c1.Init.AddressingMode = I2C_ADDRESSINGMODE_7BIT;
  hi2c1.Init.DualAddressMode = I2C_DUALADDRESS_DISABLE;
  hi2c1.Init.OwnAddress2 = 0;
  hi2c1.Init.GeneralCallMode = I2C_GENERALCALL_DISABLE;
  hi2c1.Init.NoStretchMode = I2C_NOSTRETCH_DISABLE;
  if (HAL_I2C_Init(&hi2c1) != HAL_OK)
  {
    _Error_Handler(__FILE__, __LINE__);
  }

}

/* SPI1 init function */
static void MX_SPI1_Init(void)
{

  /* SPI1 parameter configuration*/
  hspi1.Instance = SPI1;
  hspi1.Init.Mode = SPI_MODE_MASTER;
  hspi1.Init.Direction = SPI_DIRECTION_2LINES_RXONLY;
  hspi1.Init.DataSize = SPI_DATASIZE_8BIT;
  hspi1.Init.CLKPolarity = SPI_POLARITY_LOW;
  hspi1.Init.CLKPhase = SPI_PHASE_1EDGE;
  hspi1.Init.NSS = SPI_NSS_SOFT;
  hspi1.Init.BaudRatePrescaler = SPI_BAUDRATEPRESCALER_16;
  hspi1.Init.FirstBit = SPI_FIRSTBIT_MSB;
  hspi1.Init.TIMode = SPI_TIMODE_DISABLE;
  hspi1.Init.CRCCalculation = SPI_CRCCALCULATION_DISABLE;
  hspi1.Init.CRCPolynomial = 10;
  if (HAL_SPI_Init(&hspi1) != HAL_OK)
  {
    _Error_Handler(__FILE__, __LINE__);
  }

}

/* USART1 init function */
static void MX_USART1_UART_Init(void)
{

  huart1.Instance = USART1;
  huart1.Init.BaudRate = 9600;
  huart1.Init.WordLength = UART_WORDLENGTH_8B;
  huart1.Init.StopBits = UART_STOPBITS_1;
  huart1.Init.Parity = UART_PARITY_NONE;
  huart1.Init.Mode = UART_MODE_TX_RX;
  huart1.Init.HwFlowCtl = UART_HWCONTROL_NONE;
  huart1.Init.OverSampling = UART_OVERSAMPLING_16;
  if (HAL_UART_Init(&huart1) != HAL_OK)
  {
    _Error_Handler(__FILE__, __LINE__);
  }

}

/** Configure pins as
        * Analog
        * Input
        * Output
        * EVENT_OUT
        * EXTI
*/
static void MX_GPIO_Init(void)
{

  GPIO_InitTypeDef GPIO_InitStruct;

  /* GPIO Ports Clock Enable */
  __HAL_RCC_GPIOA_CLK_ENABLE();
  __HAL_RCC_GPIOB_CLK_ENABLE();

  /*Configure GPIO pin Output Level */
  HAL_GPIO_WritePin(GPIOA, CS1_Pin|D7_Pin|D6_Pin|D5_Pin, GPIO_PIN_RESET);

  /*Configure GPIO pin Output Level */
  HAL_GPIO_WritePin(GPIOB, LD1_Pin|LD2_Pin|LD3_Pin|D4_Pin
                          |EN_Pin|RS_Pin, GPIO_PIN_RESET);

  /*Configure GPIO pins : CS1_Pin D7_Pin D6_Pin D5_Pin */
  GPIO_InitStruct.Pin = CS1_Pin|D7_Pin|D6_Pin|D5_Pin;
  GPIO_InitStruct.Mode = GPIO_MODE_OUTPUT_PP;
  GPIO_InitStruct.Speed = GPIO_SPEED_FREQ_LOW;
  HAL_GPIO_Init(GPIOA, &GPIO_InitStruct);

  /*Configure GPIO pins : LD1_Pin LD2_Pin LD3_Pin D4_Pin
                           EN_Pin RS_Pin */
  GPIO_InitStruct.Pin = LD1_Pin|LD2_Pin|LD3_Pin|D4_Pin
                          |EN_Pin|RS_Pin;
  GPIO_InitStruct.Mode = GPIO_MODE_OUTPUT_PP;
  GPIO_InitStruct.Speed = GPIO_SPEED_FREQ_LOW;
  HAL_GPIO_Init(GPIOB, &GPIO_InitStruct);

  /*Configure GPIO pins : S3_Pin S2_Pin */
  GPIO_InitStruct.Pin = S3_Pin|S2_Pin;
  GPIO_InitStruct.Mode = GPIO_MODE_INPUT;
  GPIO_InitStruct.Pull = GPIO_NOPULL;
  HAL_GPIO_Init(GPIOB, &GPIO_InitStruct);

  /*Configure GPIO pin : S1_Pin */
  GPIO_InitStruct.Pin = S1_Pin;
  GPIO_InitStruct.Mode = GPIO_MODE_INPUT;
  GPIO_InitStruct.Pull = GPIO_NOPULL;
  HAL_GPIO_Init(S1_GPIO_Port, &GPIO_InitStruct);

}

void _Error_Handler(char *file, int line)
{
  while(1)
  {
  }
}

/************************ (C) COPYRIGHT STMicroelectronics *****END OF FILE****/
